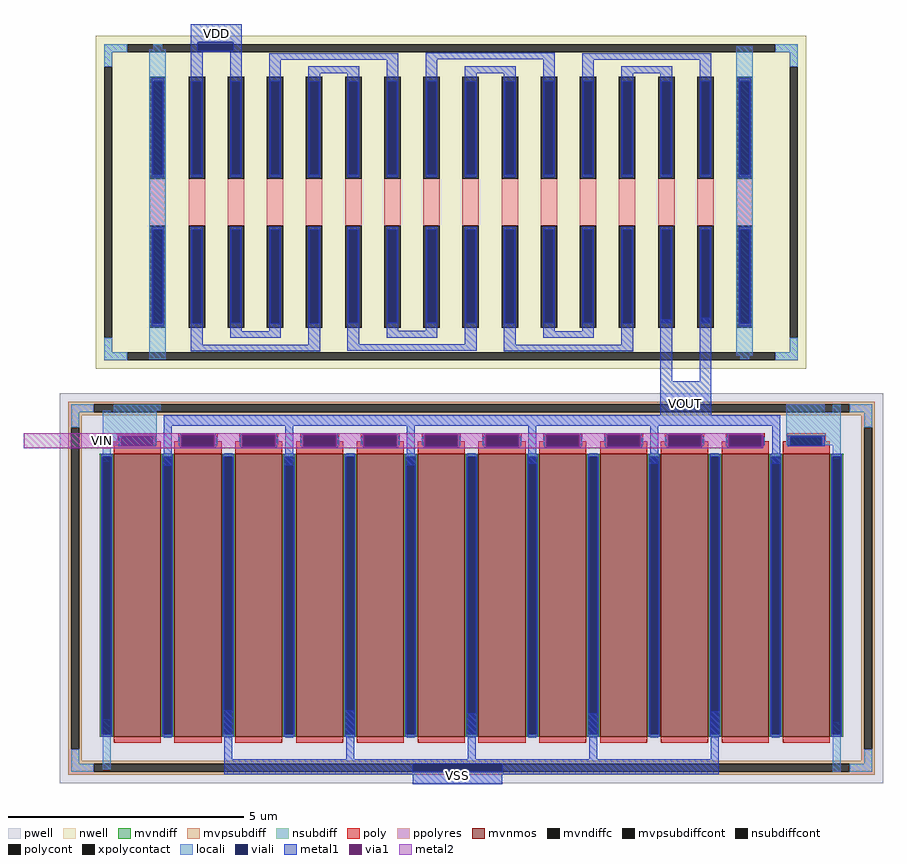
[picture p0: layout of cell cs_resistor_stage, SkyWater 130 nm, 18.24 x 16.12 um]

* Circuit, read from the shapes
.subckt cs_resistor_stage VDD VSS VIN VOUT
XM1 VOUT VSS VSS VSS sky130_fd_pr__nfet_g5v0d10v5 w=6 l=1 m=2
XM2 VSS VIN VOUT VSS sky130_fd_pr__nfet_g5v0d10v5 w=6 l=1 m=10
XR3 VDD VDD VSS sky130_fd_pr__res_high_po w=0.35 l=1 m=2
XR4 VDD n1 VSS sky130_fd_pr__res_high_po w=0.35 l=1
XR5 VDD n2 VSS sky130_fd_pr__res_high_po w=0.35 l=1
XR6 n3 n2 VSS sky130_fd_pr__res_high_po w=0.35 l=1
XR7 n4 n1 VSS sky130_fd_pr__res_high_po w=0.35 l=1
XR8 n4 n5 VSS sky130_fd_pr__res_high_po w=0.35 l=1
XR9 n3 n6 VSS sky130_fd_pr__res_high_po w=0.35 l=1
XR10 n7 n6 VSS sky130_fd_pr__res_high_po w=0.35 l=1
XR11 n8 n5 VSS sky130_fd_pr__res_high_po w=0.35 l=1
XR12 n8 n9 VSS sky130_fd_pr__res_high_po w=0.35 l=1
XR13 n7 n10 VSS sky130_fd_pr__res_high_po w=0.35 l=1
XR14 n11 n10 VSS sky130_fd_pr__res_high_po w=0.35 l=1
XR15 n12 n9 VSS sky130_fd_pr__res_high_po w=0.35 l=1
XR16 n12 VOUT VSS sky130_fd_pr__res_high_po w=0.35 l=1
XR17 n11 VOUT VSS sky130_fd_pr__res_high_po w=0.35 l=1
.ends

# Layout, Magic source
magic
tech sky130A
magscale 1 2
<< nwell >>
rect 332 122 420 130
<< poly >>
rect 561 -342 715 -326
rect 561 -376 571 -342
rect 705 -376 715 -342
rect 561 -388 715 -376
rect 819 -342 973 -326
rect 819 -376 829 -342
rect 963 -376 973 -342
rect 819 -388 973 -376
rect 1077 -342 1231 -326
rect 1077 -376 1087 -342
rect 1221 -376 1231 -342
rect 1077 -388 1231 -376
rect 1335 -342 1489 -326
rect 1335 -376 1345 -342
rect 1479 -376 1489 -342
rect 1335 -388 1489 -376
rect 1593 -342 1747 -326
rect 1593 -376 1603 -342
rect 1737 -376 1747 -342
rect 1593 -388 1747 -376
rect 1851 -342 2005 -326
rect 1851 -376 1861 -342
rect 1995 -376 2005 -342
rect 1851 -388 2005 -376
rect 2109 -342 2263 -326
rect 2109 -376 2119 -342
rect 2253 -376 2263 -342
rect 2109 -388 2263 -376
rect 2367 -342 2521 -326
rect 2367 -376 2377 -342
rect 2511 -376 2521 -342
rect 2367 -388 2521 -376
rect 2625 -342 2779 -326
rect 2625 -376 2635 -342
rect 2769 -376 2779 -342
rect 2625 -388 2779 -376
<< polycont >>
rect 571 -376 705 -342
rect 829 -376 963 -342
rect 1087 -376 1221 -342
rect 1345 -376 1479 -342
rect 1603 -376 1737 -342
rect 1861 -376 1995 -342
rect 2119 -376 2253 -342
rect 2377 -376 2511 -342
rect 2635 -376 2769 -342
<< locali >>
rect 190 1302 228 1324
rect 174 -12 244 1302
rect 2664 2 2734 1316
rect 2680 -12 2718 2
rect 22 -228 222 -206
rect -24 -236 10 -230
rect 22 -236 204 -228
rect -24 -376 206 -236
rect 2876 -238 3038 -204
rect 3072 -238 3106 -206
rect 561 -376 571 -342
rect 705 -376 715 -342
rect 819 -376 829 -342
rect 963 -376 973 -342
rect 1077 -376 1087 -342
rect 1221 -376 1231 -342
rect 1335 -376 1345 -342
rect 1479 -376 1489 -342
rect 1593 -376 1603 -342
rect 1737 -376 1747 -342
rect 1851 -376 1861 -342
rect 1995 -376 2005 -342
rect 2109 -376 2119 -342
rect 2253 -376 2263 -342
rect 2367 -376 2377 -342
rect 2511 -376 2521 -342
rect 2625 -376 2635 -342
rect 2769 -376 2779 -342
rect 2876 -376 3106 -238
rect -24 -448 10 -376
rect 3072 -436 3106 -376
rect -24 -1752 10 -1540
rect 3072 -1762 3106 -1550
<< viali >>
rect 380 1296 530 1332
rect 571 -376 705 -342
rect 829 -376 963 -342
rect 1087 -376 1221 -342
rect 1345 -376 1479 -342
rect 1603 -376 1737 -342
rect 1861 -376 1995 -342
rect 2119 -376 2253 -342
rect 2377 -376 2511 -342
rect 2635 -376 2769 -342
rect 1292 -1762 1670 -1728
<< metal1 >>
rect 350 1332 566 1410
rect 350 1296 380 1332
rect 530 1296 566 1332
rect 350 1290 566 1296
rect 350 1166 400 1290
rect 516 1166 566 1290
rect 682 1258 1230 1286
rect 682 1168 732 1258
rect 848 1202 1064 1230
rect 848 1166 898 1202
rect 1014 1166 1064 1202
rect 1180 1168 1230 1258
rect 1346 1260 1894 1288
rect 1346 1170 1396 1260
rect 1512 1202 1728 1230
rect 1512 1166 1562 1202
rect 1678 1166 1728 1202
rect 1844 1170 1894 1260
rect 2010 1258 2558 1286
rect 2010 1168 2060 1258
rect 2176 1202 2392 1230
rect 2176 1166 2226 1202
rect 2342 1166 2392 1202
rect 2508 1168 2558 1258
rect 350 50 400 130
rect 516 106 566 142
rect 682 132 686 134
rect 682 106 732 132
rect 516 78 732 106
rect 848 50 898 128
rect 350 22 898 50
rect 1014 52 1064 142
rect 1180 108 1230 144
rect 1346 108 1396 144
rect 1180 80 1396 108
rect 1512 52 1562 142
rect 1014 24 1562 52
rect 1678 50 1728 140
rect 1844 106 1894 142
rect 2010 106 2060 142
rect 1844 78 2060 106
rect 2176 50 2226 140
rect 1678 22 2226 50
rect 2342 -106 2392 158
rect 2508 -106 2558 164
rect 2342 -250 2558 -106
rect 234 -294 2850 -250
rect 234 -464 268 -294
rect 304 -332 456 -326
rect 304 -384 310 -332
rect 450 -384 456 -332
rect 562 -332 714 -326
rect 562 -336 568 -332
rect 561 -382 568 -336
rect 708 -336 714 -332
rect 304 -390 456 -384
rect 562 -384 568 -382
rect 708 -382 715 -336
rect 708 -384 714 -382
rect 562 -388 714 -384
rect 750 -462 784 -294
rect 820 -332 972 -326
rect 820 -336 826 -332
rect 819 -382 826 -336
rect 966 -336 972 -332
rect 1078 -332 1230 -326
rect 1078 -336 1084 -332
rect 820 -384 826 -382
rect 966 -382 973 -336
rect 1077 -382 1084 -336
rect 1224 -336 1230 -332
rect 966 -384 972 -382
rect 820 -388 972 -384
rect 1078 -384 1084 -382
rect 1224 -382 1231 -336
rect 1224 -384 1230 -382
rect 1078 -388 1230 -384
rect 1266 -462 1300 -294
rect 1336 -332 1488 -326
rect 1336 -336 1342 -332
rect 1335 -382 1342 -336
rect 1482 -336 1488 -332
rect 1594 -332 1746 -326
rect 1594 -336 1600 -332
rect 1336 -384 1342 -382
rect 1482 -382 1489 -336
rect 1593 -382 1600 -336
rect 1740 -336 1746 -332
rect 1482 -384 1488 -382
rect 1336 -388 1488 -384
rect 1594 -384 1600 -382
rect 1740 -382 1747 -336
rect 1740 -384 1746 -382
rect 1594 -388 1746 -384
rect 1782 -456 1816 -294
rect 1852 -332 2004 -326
rect 1852 -336 1858 -332
rect 1851 -382 1858 -336
rect 1998 -336 2004 -332
rect 2110 -332 2262 -326
rect 2110 -336 2116 -332
rect 1852 -384 1858 -382
rect 1998 -382 2005 -336
rect 2109 -382 2116 -336
rect 2256 -336 2262 -332
rect 1998 -384 2004 -382
rect 1852 -388 2004 -384
rect 2110 -384 2116 -382
rect 2256 -382 2263 -336
rect 2256 -384 2262 -382
rect 2110 -388 2262 -384
rect 2298 -456 2332 -294
rect 2368 -332 2520 -326
rect 2368 -336 2374 -332
rect 2367 -382 2374 -336
rect 2514 -336 2520 -332
rect 2626 -332 2778 -326
rect 2626 -336 2632 -332
rect 2368 -384 2374 -382
rect 2514 -382 2521 -336
rect 2625 -382 2632 -336
rect 2772 -336 2778 -332
rect 2514 -384 2520 -382
rect 2368 -388 2520 -384
rect 2626 -384 2632 -382
rect 2772 -382 2779 -336
rect 2772 -384 2778 -382
rect 2626 -388 2778 -384
rect 2816 -456 2850 -294
rect 492 -1710 526 -1502
rect 1008 -1710 1042 -1502
rect 1524 -1710 1558 -1514
rect 2040 -1710 2074 -1514
rect 2556 -1710 2590 -1506
rect 492 -1728 2590 -1710
rect 492 -1762 1292 -1728
rect 1670 -1762 2590 -1728
rect 492 -1772 2590 -1762
rect 1292 -1814 1670 -1772
<< via1 >>
rect 310 -384 450 -332
rect 568 -342 708 -332
rect 568 -376 571 -342
rect 571 -376 705 -342
rect 705 -376 708 -342
rect 568 -384 708 -376
rect 826 -342 966 -332
rect 826 -376 829 -342
rect 829 -376 963 -342
rect 963 -376 966 -342
rect 826 -384 966 -376
rect 1084 -342 1224 -332
rect 1084 -376 1087 -342
rect 1087 -376 1221 -342
rect 1221 -376 1224 -342
rect 1084 -384 1224 -376
rect 1342 -342 1482 -332
rect 1342 -376 1345 -342
rect 1345 -376 1479 -342
rect 1479 -376 1482 -342
rect 1342 -384 1482 -376
rect 1600 -342 1740 -332
rect 1600 -376 1603 -342
rect 1603 -376 1737 -342
rect 1737 -376 1740 -342
rect 1600 -384 1740 -376
rect 1858 -342 1998 -332
rect 1858 -376 1861 -342
rect 1861 -376 1995 -342
rect 1995 -376 1998 -342
rect 1858 -384 1998 -376
rect 2116 -342 2256 -332
rect 2116 -376 2119 -342
rect 2119 -376 2253 -342
rect 2253 -376 2256 -342
rect 2116 -384 2256 -376
rect 2374 -342 2514 -332
rect 2374 -376 2377 -342
rect 2377 -376 2511 -342
rect 2511 -376 2514 -342
rect 2374 -384 2514 -376
rect 2632 -342 2772 -332
rect 2632 -376 2635 -342
rect 2635 -376 2769 -342
rect 2769 -376 2772 -342
rect 2632 -384 2772 -376
<< metal2 >>
rect -360 -332 2778 -326
rect -360 -384 310 -332
rect 450 -384 568 -332
rect 708 -384 826 -332
rect 966 -384 1084 -332
rect 1224 -384 1342 -332
rect 1482 -384 1600 -332
rect 1740 -384 1858 -332
rect 1998 -384 2116 -332
rect 2256 -384 2374 -332
rect 2514 -384 2632 -332
rect 2772 -384 2778 -332
rect -360 -390 2778 -384
use sky130_fd_pr__nfet_g5v0d10v5_HLHUBB  sky130_fd_pr__nfet_g5v0d10v5_HLHUBB_0
transform 1 0 1541 0 1 -983
box -1747 -827 1747 827
use sky130_fd_pr__res_high_po_0p35_HS5UUT  sky130_fd_pr__res_high_po_0p35_HS5UUT_0
transform 1 0 1454 0 1 654
box -1507 -707 1507 707
<< labels >>
flabel metal1 350 1332 566 1410 0 FreeSans 320 0 0 0 VDD
port 1 nsew
flabel metal1 1292 -1814 1670 -1744 0 FreeSans 320 0 0 0 VSS
port 2 nsew
flabel metal2 -360 -390 310 -326 0 FreeSans 320 0 0 0 VIN
port 3 nsew
flabel metal1 2342 -294 2558 -106 0 FreeSans 320 0 0 0 VOUT
port 4 nsew
<< end >>

# cell sky130_fd_pr__nfet_g5v0d10v5_HLHUBB: kit device sky130_fd_pr__nfet_g5v0d10v5, w 6 l 1 m 1 nf 12 diffcov 100 polycov 80 guard 1 glc 1 grc 1 gtc 1 gbc 1 tbcov 100 rlcov 100 topc 1 botc 0 poverlap 0 doverlap 1 lmin 0.50 wmin 0.42 compatible {sky130_fd_pr__nfet_01v8 sky130_fd_pr__nfet_01v8_lvt sky130_fd_bs_flash__special_sonosfet_star sky130_fd_pr__nfet_g5v0d10v5 sky130_fd_pr__nfet_05v0_nvt sky130_fd_pr__nfet_03v3_nvt} full_metal 1 viasrc 100 viadrn 100 viagate 80 viagb 0 viagr 0 viagl 0 viagt 0

# cell sky130_fd_pr__res_high_po_0p35_HS5UUT: kit device sky130_fd_pr__res_high_po_0p35, w 0.35 l 1.0 m 1 nx 16 wmin 0.350 lmin 0.50 rho 319.8 val 2.026k dummy 0 dw 0.0 term 194.82 sterm 0.0 caplen 0 guard 1 glc 1 grc 1 gtc 1 gbc 1 compatible {sky130_fd_pr__res_high_po_0p35 sky130_fd_pr__res_high_po_0p69 sky130_fd_pr__res_high_po_1p41 sky130_fd_pr__res_high_po_2p85 sky130_fd_pr__res_high_po_5p73} snake 0 full_metal 1 wmax 0.350 vias 1 n_guard 1 hv_guard 0 viagb 0 viagt 0 viagl 0 viagr 0
